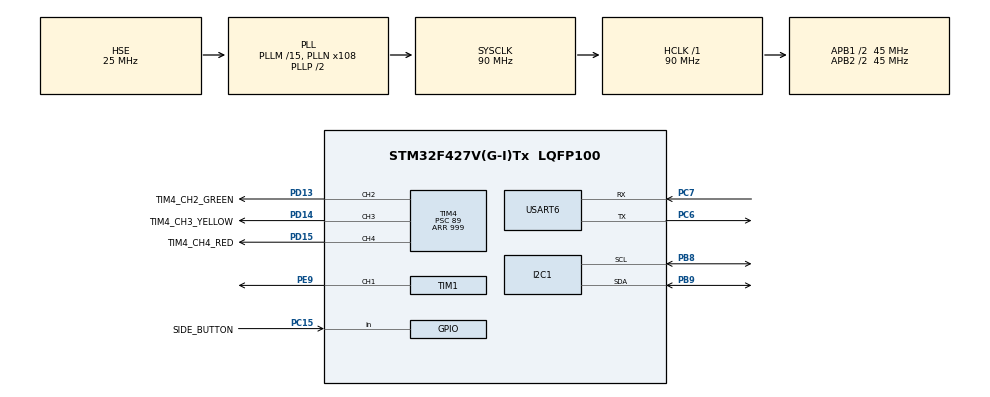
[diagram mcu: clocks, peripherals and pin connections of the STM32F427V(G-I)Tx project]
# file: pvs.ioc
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Mcu.Family=STM32F4
RCC.PLLSourceVirtual=RCC_PLLSOURCE_HSE
RCC.CortexFreq_Value=90000000
PC15/OSC32_OUT.GPIO_Label=SIDE_BUTTON
PD15.GPIO_Label=TIM4_CH4_RED
NVIC.I2C1_EV_IRQn=true\:0\:0\:false\:false\:true\:true\:true
NVIC.TIM6_DAC_IRQn=true\:0\:0\:false\:false\:true\:true\:true
SH.S_TIM4_CH4.0=TIM4_CH4,PWM Generation4 CH4
TIM6.Prescaler=89
PC6.Signal=USART6_TX
VP_TIM6_VS_ClockSourceINT.Mode=Enable_Timer
TIM1.Pulse-PWM\ Generation1\ CH1=955
RCC.APB1CLKDivider=RCC_HCLK_DIV2
RCC.SYSCLKSource=RCC_SYSCLKSOURCE_PLLCLK
ProjectManager.StackSize=0x400
NVIC.USART6_IRQn=true\:0\:0\:false\:false\:true\:true\:true
PD13.Signal=S_TIM4_CH2
TIM1.Prescaler=89
SH.S_TIM1_CH1.0=TIM1_CH1,PWM Generation1 CH1
ProjectManager.TargetToolchain=STM32CubeIDE
I2C1.I2C_Mode=I2C_Fast
PC6.Mode=Asynchronous
PH0/OSC_IN.Mode=HSE-External-Oscillator
SH.S_TIM4_CH3.0=TIM4_CH3,PWM Generation3 CH3
RCC.HCLKFreq_Value=90000000
PB9.Mode=I2C
RCC.APB2TimFreq_Value=90000000
PC7.Signal=USART6_RX
PH1/OSC_OUT.Signal=RCC_OSC_OUT
TIM4.Prescaler=89
RCC.LSE_VALUE=32768
RCC.AHBFreq_Value=90000000
RCC.HSE_VALUE=25000000
TIM4.Channel-PWM\ Generation3\ CH3=TIM_CHANNEL_3
board=custom
RCC.VCOOutputFreq_Value=180000000
USART6.WordLength=WORDLENGTH_8B
PH0/OSC_IN.Signal=RCC_OSC_IN
TIM4.Channel-PWM\ Generation2\ CH2=TIM_CHANNEL_2
RCC.APB2Freq_Value=45000000
TIM1.Channel-PWM\ Generation1\ CH1=TIM_CHANNEL_1
PE9.Signal=S_TIM1_CH1
SH.S_TIM4_CH2.0=TIM4_CH2,PWM Generation2 CH2
PD14.GPIO_Label=TIM4_CH3_YELLOW
TIM4.Period=999
TIM6.Period=999
PH1/OSC_OUT.Mode=HSE-External-Oscillator
Mcu.Name=STM32F427V(G-I)Tx
VP_TIM1_VS_ClockSourceINT.Mode=Internal
PD14.Signal=S_TIM4_CH3
RCC.48MHZClocksFreq_Value=45000000
RCC.SYSCLKFreq_VALUE=90000000
PD13.GPIO_Label=TIM4_CH2_GREEN
Mcu.Package=LQFP100
PB9.Signal=I2C1_SDA
USART6.VirtualMode=VM_ASYNC
ProjectManager.HeapSize=0x200
RCC.HSI_VALUE=16000000
VP_TIM4_VS_ClockSourceINT.Mode=Internal
NVIC.PriorityGroup=NVIC_PRIORITYGROUP_4
RCC.APB2CLKDivider=RCC_HCLK_DIV2
RCC.PLLM=15
PB8.Mode=I2C
RCC.PLLN=108
RCC.APB1TimFreq_Value=90000000
PB8.Signal=I2C1_SCL
PC15/OSC32_OUT.Signal=GPIO_Input
TIM1.Period=1911
PC7.Mode=Asynchronous
TIM4.Channel-PWM\ Generation4\ CH4=TIM_CHANNEL_4
RCC.APB1Freq_Value=45000000
PD15.Signal=S_TIM4_CH4

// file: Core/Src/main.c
/* USER CODE BEGIN Header */
/**
  ******************************************************************************
  * @file           : main.c
  * @brief          : Main program body
  ******************************************************************************
  * @attention
  *
  * <h2><center>&copy; Copyright (c) 2022 STMicroelectronics.
  * All rights reserved.</center></h2>
  *
  * This software component is licensed by ST under BSD 3-Clause license,
  * the "License"; You may not use this file except in compliance with the
  * License. You may obtain a copy of the License at:
  *                        opensource.org/licenses/BSD-3-Clause
  *
  ******************************************************************************
  */
/* USER CODE END Header */
#include "main.h"
#include "i2c.h"
#include "tim.h"
#include "usart.h"
#include "gpio.h"

/* USER CODE BEGIN Includes */
#include <stdio.h>
#include <string.h>
#include "game.h"
#include "LED.h"
#include "queue.h"
#include "speaker.h"
#include "uart_io.h"
#include "kb.h"
#include "pca9538.h"
/* USER CODE END Includes */

/* USER CODE BEGIN PD */
#define TIMEOUT 5000
#define GLOW_TIME 3000
#define CODE 0xD4
#define TIMES_BLINK 1
#define BLINK_PERIOD 250
#define MAX_TIMES_PRESSED_WRONG 3
/* USER CODE END PD */

/* USER CODE BEGIN PV */
struct queue input_queue;
struct queue output_queue;
struct queue kb_queue;

char output_buffer[256];

uint8_t row_n = 0;
uint8_t btn_res;

uint8_t input_byte;
/* USER CODE END PV */

void SystemClock_Config(void);
/* USER CODE BEGIN PFP */
bool check_input();
enum keys char_to_key(char c);
struct melody init_melody();
/* USER CODE END PFP */

int main(void)
{
  /* USER CODE BEGIN 1 */
	struct melody melody;
  /* USER CODE END 1 */

  /* MCU Configuration--------------------------------------------------------*/

  /* Reset of all peripherals, Initializes the Flash interface and the Systick. */
  HAL_Init();

  /* USER CODE BEGIN Init */
  input_queue = queue_init(256);
  output_queue = queue_init(256);
  kb_queue = queue_init(256);
  /* USER CODE END Init */

  /* Configure the system clock */
  SystemClock_Config();

  /* Initialize all configured peripherals */
  MX_GPIO_Init();
  MX_USART6_UART_Init();
  MX_TIM1_Init();
  MX_TIM4_Init();
  MX_TIM6_Init();
  MX_I2C1_Init();
  /* USER CODE BEGIN 2 */
  uart_io_init(&input_queue, &output_queue);
  kb_init(&kb_queue, TEST);
  melody = init_melody();
  game_register_melody(&melody);

  HAL_TIM_PWM_Start(&htim4, TIM_CHANNEL_2);
  HAL_TIM_PWM_Start(&htim4, TIM_CHANNEL_3);
  HAL_TIM_PWM_Start(&htim4, TIM_CHANNEL_4);
  HAL_TIM_Base_Start_IT(&htim6);
  //HAL_TIM_Base_Start_IT(&htim7);

  print_string("Init complete\n\r");
  /* USER CODE END 2 */

  /* Infinite loop */
  /* USER CODE BEGIN WHILE */
	while (1) {

		btn_res = kb_check_row(btn_res);
		btn_res = (btn_res + 1) % 4;
		sprintf(output_buffer, "%d\n\r", btn_res);
		print_string(output_buffer);

		if (!queue_is_empty(&input_queue)) {
			input_byte = queue_pop(&input_queue);
			sprintf(output_buffer, "%c\n\r", input_byte);
			print_string(output_buffer);
			if (check_input()) {
				game_key_pressed(char_to_key(input_byte));
			} else {
				sprintf(output_buffer, "Wrong symbol: %c\n\r", input_byte);
				print_string(output_buffer);
			}
		}

    /* USER CODE END WHILE */

	}
}

void SystemClock_Config(void)
{
  RCC_OscInitTypeDef RCC_OscInitStruct = {0};
  RCC_ClkInitTypeDef RCC_ClkInitStruct = {0};

  /** Configure the main internal regulator output voltage
  */
  __HAL_RCC_PWR_CLK_ENABLE();
  __HAL_PWR_VOLTAGESCALING_CONFIG(PWR_REGULATOR_VOLTAGE_SCALE3);
  /** Initializes the RCC Oscillators according to the specified parameters
  * in the RCC_OscInitTypeDef structure.
  */
  RCC_OscInitStruct.OscillatorType = RCC_OSCILLATORTYPE_HSE;
  RCC_OscInitStruct.HSEState = RCC_HSE_ON;
  RCC_OscInitStruct.PLL.PLLState = RCC_PLL_ON;
  RCC_OscInitStruct.PLL.PLLSource = RCC_PLLSOURCE_HSE;
  RCC_OscInitStruct.PLL.PLLM = 15;
  RCC_OscInitStruct.PLL.PLLN = 108;
  RCC_OscInitStruct.PLL.PLLP = RCC_PLLP_DIV2;
  RCC_OscInitStruct.PLL.PLLQ = 4;
  if (HAL_RCC_OscConfig(&RCC_OscInitStruct) != HAL_OK)
  {
    Error_Handler();
  }
  /** Activate the Over-Drive mode
  */
  if (HAL_PWREx_EnableOverDrive() != HAL_OK)
  {
    Error_Handler();
  }
  /** Initializes the CPU, AHB and APB buses clocks
  */
  RCC_ClkInitStruct.ClockType = RCC_CLOCKTYPE_HCLK|RCC_CLOCKTYPE_SYSCLK
                              |RCC_CLOCKTYPE_PCLK1|RCC_CLOCKTYPE_PCLK2;
  RCC_ClkInitStruct.SYSCLKSource = RCC_SYSCLKSOURCE_PLLCLK;
  RCC_ClkInitStruct.AHBCLKDivider = RCC_SYSCLK_DIV1;
  RCC_ClkInitStruct.APB1CLKDivider = RCC_HCLK_DIV2;
  RCC_ClkInitStruct.APB2CLKDivider = RCC_HCLK_DIV2;

  if (HAL_RCC_ClockConfig(&RCC_ClkInitStruct, FLASH_LATENCY_2) != HAL_OK)
  {
    Error_Handler();
  }
}

/* USER CODE BEGIN 4 */

void print_string(char* string) {
	uart_io_write_from_buffer((uint8_t *) string, strlen(string));
}

bool check_input() {
	return ((input_byte >= '1' && input_byte <= '9')
			|| input_byte == '+'
			|| input_byte == 'a'
			|| input_byte == '\r');
}

struct melody init_melody(){
	struct melody melody = melody_init(28);
	melody_add_play(&melody, re);
	melody_add_play(&melody, fa);
	melody_add_play(&melody, ut);
	melody_add_wait(&melody, 200);
	melody_add_play(&melody, fa);
	melody_add_play(&melody, mi);
	melody_add_play(&melody, sol);
	melody_add_wait(&melody, 500);
	melody_add_play(&melody, mi);
	melody_add_play(&melody, la);
	melody_add_play(&melody, si);
	melody_add_play(&melody, mi);
	melody_add_wait(&melody, 300);
	melody_add_play(&melody, re);
	melody_add_play(&melody, fa);
	melody_add_play(&melody, ut);
	melody_add_wait(&melody, 200);
	melody_add_play(&melody, re_2);
	melody_add_play(&melody, ut_2);
	melody_add_play(&melody, si);
	melody_add_play(&melody, la);
	melody_add_play(&melody, sol);
	melody_add_play(&melody, re_2);
	melody_add_play(&melody, re);
	melody_add_wait(&melody, 500);
	melody_add_play(&melody, fa);
	melody_add_play(&melody, si);
	melody_add_play(&melody, mi);
	return melody;
}

enum keys char_to_key(char c){
	switch(c){
	case '1':
		return KEY_1;
	case '2':
		return KEY_2;
	case '3':
		return KEY_3;
	case '4':
		return KEY_4;
	case '5':
		return KEY_5;
	case '6':
		return KEY_6;
	case '7':
		return KEY_7;
	case '8':
		return KEY_8;
	case '9':
		return KEY_9;
	case 'a':
		return KEY_A;
	case '+':
		return KEY_PLUS;
	case '\r':
		return KEY_ENTER;
	default:
		return NO_KEY;
	}
}

void main_notify_game_started(){
	print_string("Game is starting!\n\r");
}
void main_notify_game_finished(){
	sprintf(output_buffer, "Game finished! Your score is: %"PRIu32"!\n\r", game_get_score());
	print_string(output_buffer);
}

void HAL_TIM_PeriodElapsedCallback(TIM_HandleTypeDef *htim) {
	if (htim->Instance == TIM6) {
		game_timeout_callback();
	}
	else if (htim->Instance == TIM7) {
		kb_tim_callback();
	}
}

/* USER CODE END 4 */

void Error_Handler(void)
{
  __disable_irq();
  while (1)
  {
  }
}

/************************ (C) COPYRIGHT STMicroelectronics *****END OF FILE****/
